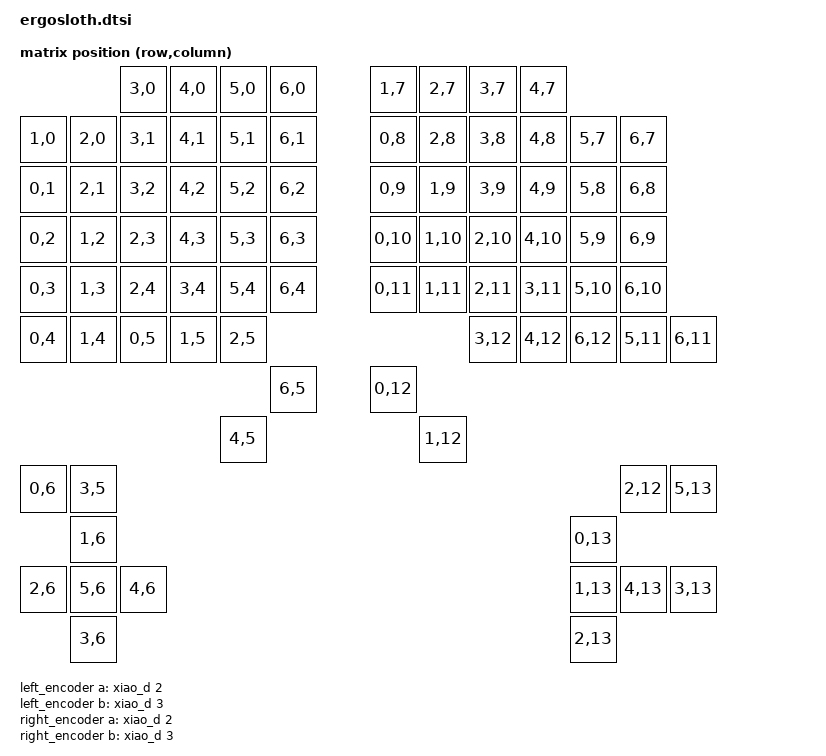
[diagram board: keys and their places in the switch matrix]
/*
 * Copyright (c) 2020 Pete Johanson
 *
 * SPDX-License-Identifier: MIT
 */

#include <dt-bindings/zmk/matrix_transform.h>
#include <dt-bindings/zmk/input_transform.h>
#include <physical_layouts.dtsi>

#include "ergosloth-layouts.dtsi"

/ {
    chosen {
        zmk,physical-layout = &physical_layout0;
        zmk,matrix-transform = &default_transform;
        zmk,kscan = &kscan0;
    };

    left_encoder: encoder_left {
        compatible = "alps,ec11";
        a-gpios = <&xiao_d 2 (GPIO_ACTIVE_HIGH | GPIO_PULL_UP)>;
        b-gpios = <&xiao_d 3 (GPIO_ACTIVE_HIGH | GPIO_PULL_UP)>;
        steps = <15>;
        status = "disabled";
    };

    right_encoder: encoder_right {
        compatible = "alps,ec11";
        a-gpios = <&xiao_d 2 (GPIO_ACTIVE_HIGH | GPIO_PULL_UP)>;
        b-gpios = <&xiao_d 3 (GPIO_ACTIVE_HIGH | GPIO_PULL_UP)>;
        steps = <15>;
        status = "disabled";
    };

    sensors: sensors {
        compatible = "zmk,keymap-sensors";
        sensors = <&left_encoder &right_encoder>;
        triggers-per-rotation = <24>;
    };

    trackball_listener: trackball_listener {
        compatible = "zmk,input-listener";
        status = "disabled";
        trackball_scroller: scroller {
            input-processors = <&zip_xy_scaler 1 50 &zip_xy_to_scroll_mapper>,
                               <&zip_scroll_transform (INPUT_TRANSFORM_Y_INVERT)>;
        };
    };

    split_inputs {
        #address-cells = <1>;
        #size-cells = <0>;

        glidepoint: glidepoint@1 {
            compatible = "zmk,input-split";
            reg = <0>;
        };
    };

    glidepoint_listener: glidepoint_listener {
        compatible = "zmk,input-listener";
        status = "disabled";
        device = <&glidepoint>;
    };

    default_transform: keymap_transform_0 {
        compatible = "zmk,matrix-transform";
        columns = <14>;
        rows = <7>;
            //               | SW2  | SW3  | SW4  | SW5  |   | SW6  | SW7  | SW8  | SW9  |
            // | SW0  | SW1  | SW14 | SW15 | SW16 | SW17 |   | SW18 | SW19 | SW20 | SW21 | SW10 | SW11 |
            // | SW12 | SW13 | SW26 | SW27 | SW28 | SW29 |   | SW30 | SW31 | SW32 | SW33 | SW22 | SW23 |
            // | SW24 | SW25 | SW38 | SW39 | SW40 | SW41 |   | SW42 | SW43 | SW44 | SW45 | SW34 | SW35 |
            // | SW36 | SW37 | SW50 | SW51 | SW52 | SW53 |   | SW54 | SW55 | SW56 | SW57 | SW46 | SW47 |
            // | SW48 | SW49 | SW60 | SW61 | SW62 | (LAJS)   (RAJS) | SW69 | SW70 | SW71 | SW58 | SW59 |
            //                                  (TouchPad)
            // 		                              | SW65 |   | SW66 |	    (TrackBall)
            // 							   | SW64 |					| SW67 |
            // | SW72 |				| SW63 |							   | SW68 |				| SW83 |
            //    (LeftRotaryEncoder)                                             (RightRotaryEncoder)
            //		  | SW73 |															 | SW78 |
            // | SW74 | SW77 | SW76 |											  | SW79 | SW82 | SW81 |
            // 		  | SW75 |															 | SW80 |

        map = <
							RC(3,0) RC(4,0) RC(5,0) RC(6,0)		     RC(1,7) RC(2,7) RC(3,7) RC(4,7)
            RC(1,0) RC(2,0) RC(3,1) RC(4,1) RC(5,1) RC(6,1)     	 RC(0,8) RC(2,8) RC(3,8) RC(4,8) RC(5,7) RC(6,7)
            RC(0,1) RC(2,1) RC(3,2) RC(4,2) RC(5,2) RC(6,2)     	 RC(0,9) RC(1,9) RC(3,9) RC(4,9) RC(5,8) RC(6,8)
            RC(0,2) RC(1,2) RC(2,3) RC(4,3) RC(5,3) RC(6,3)     	 RC(0,10) RC(1,10) RC(2,10) RC(4,10) RC(5,9) RC(6,9)
            RC(0,3) RC(1,3) RC(2,4) RC(3,4) RC(5,4) RC(6,4)     	 RC(0,11) RC(1,11) RC(2,11) RC(3,11) RC(5,10) RC(6,10)
            RC(0,4) RC(1,4) RC(0,5) RC(1,5) RC(2,5) 				 		  RC(3,12) RC(4,12) RC(6,12) RC(5,11) RC(6,11)

													RC(6,5)			 RC(0,12)		   
              		      	 				RC(4,5)		 					  RC(1,12)	  
			RC(0,6)					RC(3,5)											   RC(2,12)					  RC(5,13)

					RC(1,6)																				 RC(0,13)
            RC(2,6) RC(5,6) RC(4,6)     	  													RC(1,13) RC(4,13) RC(3,13)
					RC(3,6)																				 RC(2,13)

        >;
    };

    kscan0: kscan {
        compatible = "zmk,kscan-gpio-charlieplex";
        wakeup-source;
        interrupt-gpios = <&xiao_d 4 (GPIO_ACTIVE_HIGH | GPIO_PULL_DOWN)>;
    };
};

// Use NFC pins as GPIOs
&uicr {
	nfct-pins-as-gpios;
};
    
&spi0 {
        status = "disabled";

        trackball: trackball@0 {
            status = "disabled";
            reg = <0>;
        };
};
